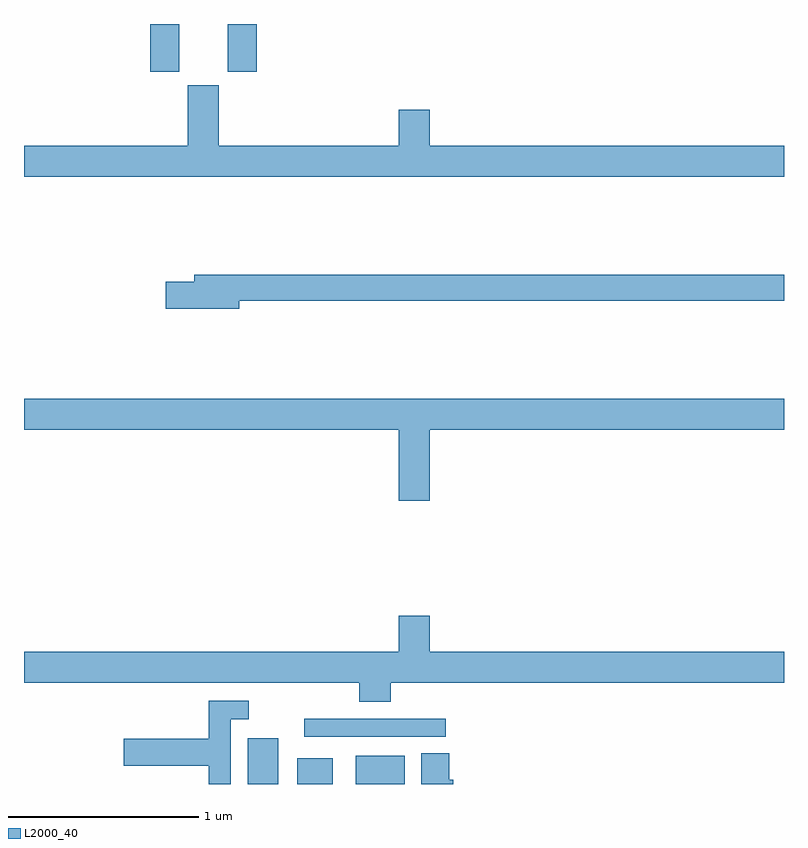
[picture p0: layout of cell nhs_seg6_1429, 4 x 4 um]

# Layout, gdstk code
import gdstk
lib = gdstk.Library(unit=1e-6, precision=1e-09)
def R(c, l, rs):  # rectangles x0, y0, x1, y1
    for r in rs: c.add(gdstk.rectangle(r[:2], r[2:], *l))
def P(c, l, *ps):  # polygons
    for p in ps: c.add(gdstk.Polygon(p, *l))
L2000_40 = (2000, 40)

nhs_seg6_1429 = lib.new_cell('nhs_seg6_1429')
R(nhs_seg6_1429, L2000_40, [(200.177,917.5,200.338,917.74), (200.438,917.5,200.626,917.635), (200.747,917.5,201.004,917.65), (200.475,917.748,201.22,917.844), (199.664,921.249,199.816,921.5), (200.072,921.249,200.225,921.5)])
P(nhs_seg6_1429, L2000_40, [(203,920.86),(201.136,920.86),(201.136,921.049),(200.972,921.049),(200.972,920.86),(200.026,920.86),(200.026,921.177),(199.862,921.177),(199.862,920.86),(199,920.86),(199,920.696),(203,920.696)],
  [(200.134,920.044),(203,920.044),(203,920.18),(199.895,920.18),(199.895,920.144),(199.746,920.144),(199.746,920.002),(200.134,920.002)],
  [(201.136,919.364),(203,919.364),(203,919.528),(199,919.528),(199,919.364),(200.972,919.364),(200.972,918.99),(201.136,918.99)],
  [(200.93,918.032),(203,918.032),(203,918.196),(201.136,918.196),(201.136,918.385),(200.972,918.385),(200.972,918.196),(199,918.196),(199,918.032),(200.765,918.032),(200.765,917.933),(200.93,917.933)],
  [(200.088,917.841),(200.182,917.841),(200.182,917.937),(199.972,917.937),(199.972,917.739),(199.524,917.739),(199.524,917.597),(199.972,917.597),(199.972,917.5),(200.088,917.5)],
  [(201.26,917.523),(201.239,917.523),(201.239,917.663),(201.092,917.663),(201.092,917.5),(201.26,917.5)])

lib.write_gds('nhs_seg6_1429.gds')
